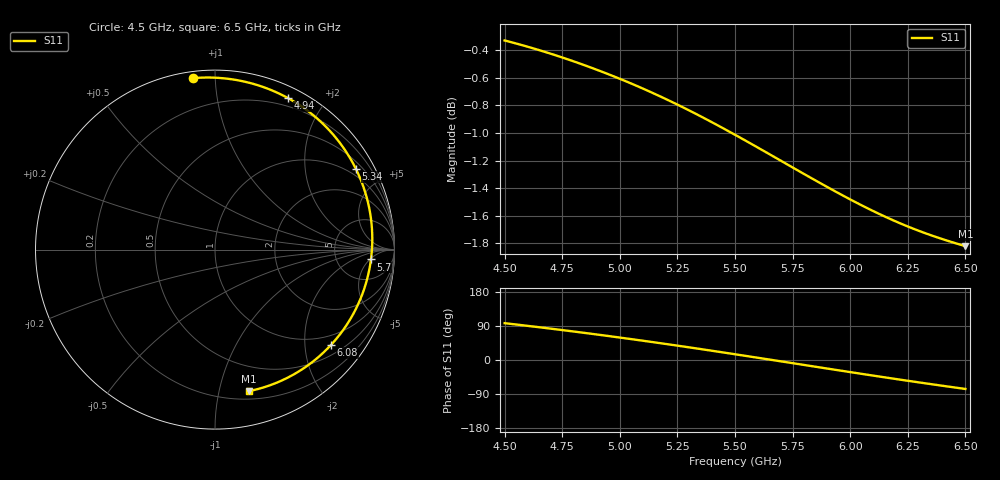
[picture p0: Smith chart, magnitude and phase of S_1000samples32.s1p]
! TOUCHSTONE file generated by CST MICROWAVE STUDIO
! Date and time: Wed Oct 26 18:21:45 2022
! Project name: L.cst
! Parameters = {Di=1.27; Epsilon_r=1.56; InnerDiameter=1.27; Length=2; Lf=10; Lg=60; OuterConductorThickness=0.2921; OuterDiameter=3.6; Wf=3; Wp=41.2; de=1.5; df=6.8; g=0.8; gx=2.37604; gy=4.90665; h=2.34; hf=1.524; px=9.05461; py=11.5345; w=9.7; wx=6.67857; wy=6.62786}
! Header version: 2018
! Port assignment regex: !\s*Touchstone port\s*([0-9]+)\s*=\s*(CST MWS port|CST DS port)\s*([0-9]+|Zmin|Zmax)\s*\(\"(.*)\"\)(\s*mode\s*([0-9]+))?.*
! Touchstone port assignment:
! Touchstone port 1 = CST MWS port 1 ("")
# GHz S DB R 50
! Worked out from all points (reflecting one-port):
!   101 points, 4.5 GHz to 6.5 GHz, reference 50 ohm
!   lowest |S11| = -1.8 dB at 6.5 GHz (marker M1), VSWR 9.57, Z = 13.4 - j61.7 ohm
!   phase of S11 starts at 97 deg and turns -174 deg over the sweep
!   S11 on the Smith chart (normalised r, x): 4.5 GHz: 0.03, +0.88; 4.94 GHz: 0.12, +1.59; 5.34 GHz: 0.73, +3.61; 5.7 GHz: 12, -5; 6.08 GHz: 0.74, -2.61; 6.5 GHz: 0.27, -1.23
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4.5  -0.33 97.2
4.58  -0.36 91.5
4.64  -0.39 87.2
4.76  -0.46 78.2
4.86  -0.52 70.5
4.94  -0.57 64.1
5  -0.61 59.2
5.06  -0.65 54.3
5.12  -0.69 49.2
5.18  -0.74 44.0
5.26  -0.80 37.0
5.34  -0.87 29.9
5.42  -0.94 22.6
5.5  -1.01 15.2
5.6  -1.11 5.8
5.7  -1.20 -3.6
5.76  -1.26 -9.3
5.82  -1.32 -15.0
5.88  -1.37 -20.7
5.94  -1.43 -26.3
6  -1.48 -31.9
6.08  -1.55 -39.4
6.18  -1.63 -48.5
6.26  -1.69 -55.7
6.32  -1.72 -61.0
6.38  -1.76 -66.2
6.44  -1.79 -71.4
6.5  -1.82 -76.4
